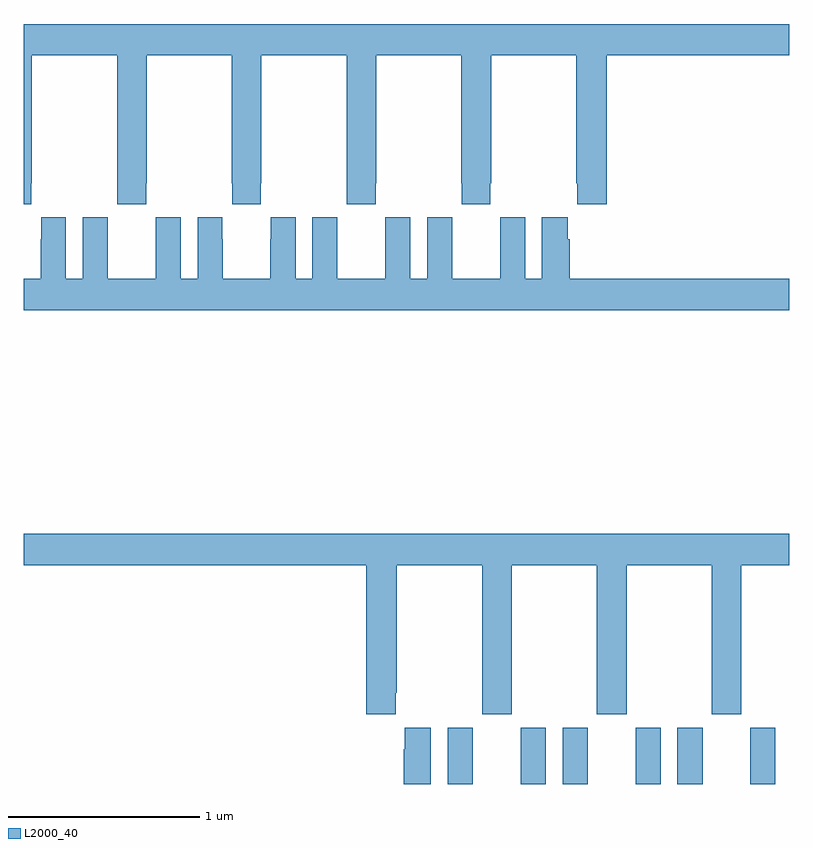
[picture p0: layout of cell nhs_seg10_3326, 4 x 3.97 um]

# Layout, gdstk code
import gdstk
lib = gdstk.Library(unit=1e-6, precision=1e-09)
def R(c, l, rs):  # rectangles x0, y0, x1, y1
    for r in rs: c.add(gdstk.rectangle(r[:2], r[2:], *l))
def P(c, l, *ps):  # polygons
    for p in ps: c.add(gdstk.Polygon(p, *l))
L2000_40 = (2000, 40)

nhs_seg10_3326 = lib.new_cell('nhs_seg10_3326')
R(nhs_seg10_3326, L2000_40, [(293.216,1304.5,293.347,1304.794), (293.597,1304.5,293.728,1304.794), (293.816,1304.5,293.947,1304.794), (294.197,1304.5,294.328,1304.794), (294.416,1304.5,294.547,1304.794), (294.797,1304.5,294.928,1304.794)])
P(nhs_seg10_3326, L2000_40, [(291.039,1307.641),(291.042,1307.641),(291.042,1308.308),(291.487,1308.308),(291.487,1307.641),(291.489,1307.641),(291.489,1307.529),(291.639,1307.529),(291.639,1307.641),(291.642,1307.641),(291.642,1308.308),(292.087,1308.308),(292.087,1307.641),(292.089,1307.641),(292.089,1307.529),(292.239,1307.529),(292.239,1307.641),(292.242,1307.641),(292.242,1308.308),(292.687,1308.308),(292.687,1307.641),(292.689,1307.641),(292.689,1307.529),(292.839,1307.529),(292.839,1307.641),(292.842,1307.641),(292.842,1308.308),(293.287,1308.308),(293.287,1307.641),(293.289,1307.641),(293.289,1307.529),(293.439,1307.529),(293.439,1307.641),(293.442,1307.641),(293.442,1308.308),(293.887,1308.308),(293.887,1307.641),(293.893,1307.641),(293.893,1307.529),(294.047,1307.529),(294.047,1308.308),(295,1308.308),(295,1308.472),(291,1308.472),(291,1307.529),(291.039,1307.529)],
  [(295,1307.14),(293.852,1307.14),(293.852,1307.348),(293.842,1307.348),(293.842,1307.461),(293.708,1307.461),(293.708,1307.14),(293.62,1307.14),(293.62,1307.461),(293.49,1307.461),(293.49,1307.348),(293.489,1307.348),(293.489,1307.14),(293.239,1307.14),(293.239,1307.348),(293.238,1307.348),(293.238,1307.461),(293.108,1307.461),(293.108,1307.14),(293.02,1307.14),(293.02,1307.461),(292.89,1307.461),(292.89,1307.348),(292.889,1307.348),(292.889,1307.14),(292.639,1307.14),(292.639,1307.348),(292.638,1307.348),(292.638,1307.461),(292.508,1307.461),(292.508,1307.14),(292.42,1307.14),(292.42,1307.461),(292.29,1307.461),(292.29,1307.348),(292.289,1307.348),(292.289,1307.14),(292.039,1307.14),(292.039,1307.348),(292.038,1307.348),(292.038,1307.461),(291.908,1307.461),(291.908,1307.14),(291.82,1307.14),(291.82,1307.461),(291.69,1307.461),(291.69,1307.348),(291.689,1307.348),(291.689,1307.14),(291.439,1307.14),(291.439,1307.348),(291.438,1307.348),(291.438,1307.461),(291.308,1307.461),(291.308,1307.14),(291.22,1307.14),(291.22,1307.461),(291.09,1307.461),(291.09,1307.348),(291.089,1307.348),(291.089,1307.14),(291,1307.14),(291,1306.976),(295,1306.976)],
  [(292.945,1304.977),(292.95,1304.977),(292.95,1305.644),(293.395,1305.644),(293.395,1304.865),(293.55,1304.865),(293.55,1305.644),(293.995,1305.644),(293.995,1304.865),(294.15,1304.865),(294.15,1305.644),(294.595,1305.644),(294.595,1304.865),(294.75,1304.865),(294.75,1305.644),(295,1305.644),(295,1305.808),(291,1305.808),(291,1305.644),(292.79,1305.644),(292.79,1304.865),(292.945,1304.865)],
  [(293.128,1304.794),(292.991,1304.794),(292.991,1304.681),(292.985,1304.681),(292.985,1304.5),(293.128,1304.5)])

lib.write_gds('nhs_seg10_3326.gds')
